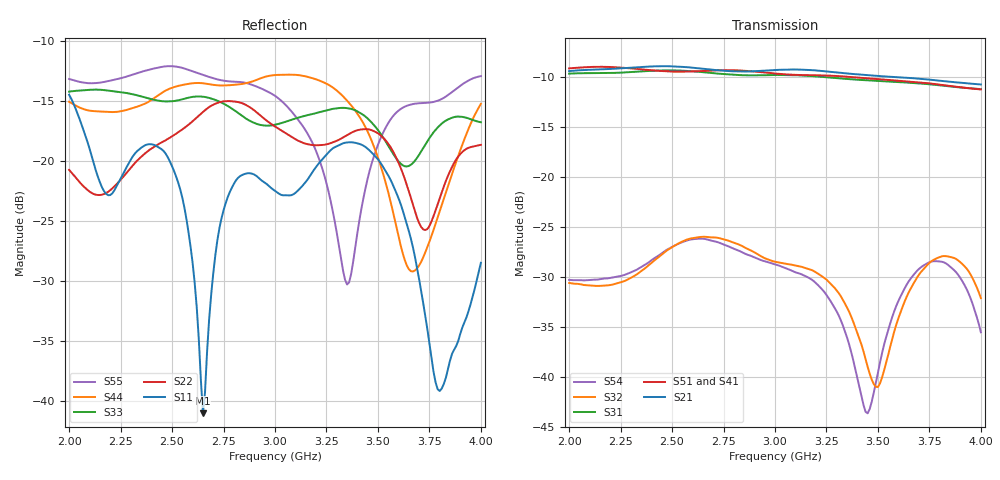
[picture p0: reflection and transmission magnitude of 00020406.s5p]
! Created with skrf 1.8.0 (http://scikit-rf.org).
# Hz S RI R 50.0
!freq ReS11 ImS11 ReS12 ImS12 ReS13 ImS13
! ReS14 ImS14 ReS15 ImS15
! ReS21 ImS21 ReS22 ImS22 ReS23 ImS23
! ReS24 ImS24 ReS25 ImS25
! ReS31 ImS31 ReS32 ImS32 ReS33 ImS33
! ReS34 ImS34 ReS35 ImS35
! ReS41 ImS41 ReS42 ImS42 ReS43 ImS43
! ReS44 ImS44 ReS45 ImS45
! ReS51 ImS51 ReS52 ImS52 ReS53 ImS53
! ReS54 ImS54 ReS55 ImS55
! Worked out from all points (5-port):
!   201 points, 2 GHz to 4 GHz, reference 50 ohm
!   strongest paths, dB at 2 GHz, 2.5 GHz, 3 GHz, 3.5 GHz, 4 GHz:
!     S21: -9.4, -8.9, -9.3, -9.9, -10.7
!     S51: -9.1, -9.4, -9.6, -10.2, -11.2
!     S41: -9.1, -9.3, -9.7, -10.3, -11.4
!     S31: -9.6, -9.3, -9.7, -10.3, -11.2
!     S32: -30.6, -27.0, -28.4, -41.0, -32.1
!     S54: -30.3, -27.0, -28.7, -39.6, -35.5
!   lowest |S11| = -41.0 dB at 2.65 GHz (marker M1), VSWR 1.02, Z = 49.5 + j0.72 ohm
!   |S11| at or under -10 dB: start of sweep to end of sweep
